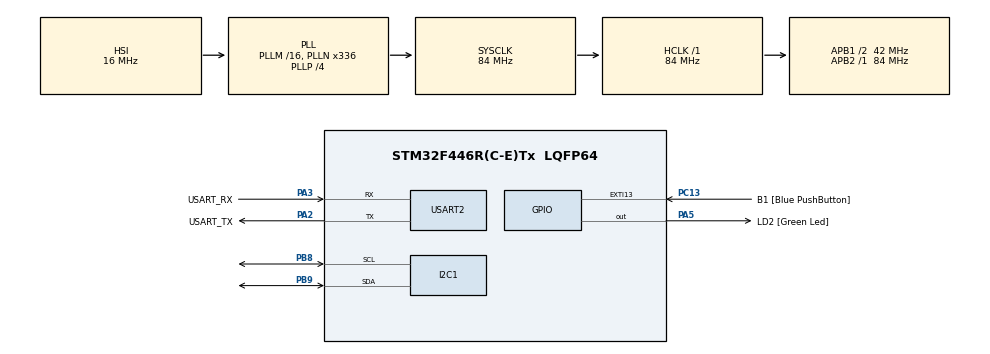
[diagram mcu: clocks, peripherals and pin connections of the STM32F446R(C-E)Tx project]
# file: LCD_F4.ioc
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Mcu.Family=STM32F4
Mcu.Name=STM32F446R(C-E)Tx
Mcu.Package=LQFP64
NVIC.PriorityGroup=NVIC_PRIORITYGROUP_0
PA13.GPIO_Label=TMS
PA13.Signal=SYS_JTMS-SWDIO
PA14.GPIO_Label=TCK
PA14.Signal=SYS_JTCK-SWCLK
PA2.GPIO_Label=USART_TX
PA2.Mode=Asynchronous
PA2.Signal=USART2_TX
PA3.GPIO_Label=USART_RX
PA3.Mode=Asynchronous
PA3.Signal=USART2_RX
PA5.GPIO_Label=LD2 [Green Led]
PA5.Signal=GPIO_Output
PB3.GPIO_Label=SWO
PB3.Signal=SYS_JTDO-SWO
PB8.Mode=I2C
PB8.Signal=I2C1_SCL
PB9.Mode=I2C
PB9.Signal=I2C1_SDA
PC13.GPIO_Label=B1 [Blue PushButton]
PC13.GPIO_ModeDefaultEXTI=GPIO_MODE_IT_FALLING
PC13.Signal=GPXTI13
PC14-OSC32_IN.Signal=RCC_OSC32_IN
PC15-OSC32_OUT.Signal=RCC_OSC32_OUT
PH0-OSC_IN.Signal=RCC_OSC_IN
PH1-OSC_OUT.Signal=RCC_OSC_OUT
ProjectManager.HeapSize=0x200
ProjectManager.StackSize=0x400
ProjectManager.TargetToolchain=STM32CubeIDE
RCC.AHBFreq_Value=84000000
RCC.APB1CLKDivider=RCC_HCLK_DIV2
RCC.APB1Freq_Value=42000000
RCC.APB1TimFreq_Value=84000000
RCC.APB2Freq_Value=84000000
RCC.APB2TimFreq_Value=84000000
RCC.CortexFreq_Value=84000000
RCC.FLatency-AdvancedSettings=FLASH_LATENCY_2
RCC.HCLKFreq_Value=84000000
RCC.HSE_VALUE=8000000
RCC.HSI_VALUE=16000000
RCC.LSE_VALUE=32768
RCC.PLLN=336
RCC.PLLP=RCC_PLLP_DIV4
RCC.SYSCLKFreq_VALUE=84000000
RCC.SYSCLKSource=RCC_SYSCLKSOURCE_PLLCLK
RCC.USBFreq_Value=168000000
RCC.VCOOutputFreq_Value=336000000
USART2.VirtualMode=VM_ASYNC
board=NUCLEO-F446RE

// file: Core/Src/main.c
/* USER CODE BEGIN Header */
/**
  ******************************************************************************
  * @file           : main.c
  * @brief          : Main program body
  ******************************************************************************
  * @attention
  *
  * Copyright (c) 2026 STMicroelectronics.
  * All rights reserved.
  *
  * This software is licensed under terms that can be found in the LICENSE file
  * in the root directory of this software component.
  * If no LICENSE file comes with this software, it is provided AS-IS.
  *
  ******************************************************************************
  */
/* USER CODE END Header */
#include "main.h"

/* USER CODE BEGIN Includes */
#include "liquidcrystal_i2c.h"
#include <stdio.h>
#include <string.h>
/* USER CODE END Includes */

I2C_HandleTypeDef hi2c1;

UART_HandleTypeDef huart2;

void SystemClock_Config(void);
static void MX_GPIO_Init(void);
static void MX_I2C1_Init(void);
static void MX_USART2_UART_Init(void);

/* USER CODE BEGIN 0 */

static void HIL_UartWrite(UART_HandleTypeDef *huart, const char *s)
{
  HAL_UART_Transmit(huart, (uint8_t*)s, (uint16_t)strlen(s), 200);
}

static void HIL_UartWriteLn(UART_HandleTypeDef *huart, const char *s)
{
  HIL_UartWrite(huart, s);
  HIL_UartWrite(huart, "\r\n");   // correct line ending
}

static void HIL_AnnounceWindow(UART_HandleTypeDef *huart, uint32_t window_ms)
{
  uint32_t t0 = HAL_GetTick();

  HIL_UartWriteLn(huart, "HIL:BOOT");

  while ((HAL_GetTick() - t0) < window_ms)
  {
    HIL_UartWriteLn(huart, "HIL:PASS");
    HAL_Delay(200);
  }
}

/* USER CODE END 0 */

int main(void)
{

  /* MCU Configuration--------------------------------------------------------*/

  /* Reset of all peripherals, Initializes the Flash interface and the Systick. */
  HAL_Init();

  /* Configure the system clock */
  SystemClock_Config();

  /* Initialize all configured peripherals */
  MX_GPIO_Init();
  MX_I2C1_Init();
  MX_USART2_UART_Init();
  /* USER CODE BEGIN 2 */
  // 1) UART HIL contract (must be after MX_USART2_UART_Init())
  HIL_AnnounceWindow(&huart2, 8000);   // repeat PASS for 8 seconds

  // 2) Minimal LCD demo
  HD44780_Init(2);
  HD44780_Clear();
  HD44780_SetCursor(0, 0);
  HD44780_PrintStr("Hello");
  HD44780_SetCursor(0, 1);
  HD44780_PrintStr("World2");

  // Optional: keep it stable for demo
  // (No delays needed for HIL; LCD stays showing text)

   /* USER CODE END 2 */

  /* Infinite loop */
  while (1)
  {

  }
}

void SystemClock_Config(void)
{
  RCC_OscInitTypeDef RCC_OscInitStruct = {0};
  RCC_ClkInitTypeDef RCC_ClkInitStruct = {0};

  /** Configure the main internal regulator output voltage
  */
  __HAL_RCC_PWR_CLK_ENABLE();
  __HAL_PWR_VOLTAGESCALING_CONFIG(PWR_REGULATOR_VOLTAGE_SCALE3);

  /** Initializes the RCC Oscillators according to the specified parameters
  * in the RCC_OscInitTypeDef structure.
  */
  RCC_OscInitStruct.OscillatorType = RCC_OSCILLATORTYPE_HSI;
  RCC_OscInitStruct.HSIState = RCC_HSI_ON;
  RCC_OscInitStruct.HSICalibrationValue = RCC_HSICALIBRATION_DEFAULT;
  RCC_OscInitStruct.PLL.PLLState = RCC_PLL_ON;
  RCC_OscInitStruct.PLL.PLLSource = RCC_PLLSOURCE_HSI;
  RCC_OscInitStruct.PLL.PLLM = 16;
  RCC_OscInitStruct.PLL.PLLN = 336;
  RCC_OscInitStruct.PLL.PLLP = RCC_PLLP_DIV4;
  RCC_OscInitStruct.PLL.PLLQ = 2;
  RCC_OscInitStruct.PLL.PLLR = 2;
  if (HAL_RCC_OscConfig(&RCC_OscInitStruct) != HAL_OK)
  {
    Error_Handler();
  }

  /** Initializes the CPU, AHB and APB buses clocks
  */
  RCC_ClkInitStruct.ClockType = RCC_CLOCKTYPE_HCLK|RCC_CLOCKTYPE_SYSCLK
                              |RCC_CLOCKTYPE_PCLK1|RCC_CLOCKTYPE_PCLK2;
  RCC_ClkInitStruct.SYSCLKSource = RCC_SYSCLKSOURCE_PLLCLK;
  RCC_ClkInitStruct.AHBCLKDivider = RCC_SYSCLK_DIV1;
  RCC_ClkInitStruct.APB1CLKDivider = RCC_HCLK_DIV2;
  RCC_ClkInitStruct.APB2CLKDivider = RCC_HCLK_DIV1;

  if (HAL_RCC_ClockConfig(&RCC_ClkInitStruct, FLASH_LATENCY_2) != HAL_OK)
  {
    Error_Handler();
  }
}

static void MX_I2C1_Init(void)
{

  hi2c1.Instance = I2C1;
  hi2c1.Init.ClockSpeed = 100000;
  hi2c1.Init.DutyCycle = I2C_DUTYCYCLE_2;
  hi2c1.Init.OwnAddress1 = 0;
  hi2c1.Init.AddressingMode = I2C_ADDRESSINGMODE_7BIT;
  hi2c1.Init.DualAddressMode = I2C_DUALADDRESS_DISABLE;
  hi2c1.Init.OwnAddress2 = 0;
  hi2c1.Init.GeneralCallMode = I2C_GENERALCALL_DISABLE;
  hi2c1.Init.NoStretchMode = I2C_NOSTRETCH_DISABLE;
  if (HAL_I2C_Init(&hi2c1) != HAL_OK)
  {
    Error_Handler();
  }

}

static void MX_USART2_UART_Init(void)
{

  huart2.Instance = USART2;
  huart2.Init.BaudRate = 115200;
  huart2.Init.WordLength = UART_WORDLENGTH_8B;
  huart2.Init.StopBits = UART_STOPBITS_1;
  huart2.Init.Parity = UART_PARITY_NONE;
  huart2.Init.Mode = UART_MODE_TX_RX;
  huart2.Init.HwFlowCtl = UART_HWCONTROL_NONE;
  huart2.Init.OverSampling = UART_OVERSAMPLING_16;
  if (HAL_UART_Init(&huart2) != HAL_OK)
  {
    Error_Handler();
  }

}

static void MX_GPIO_Init(void)
{
  GPIO_InitTypeDef GPIO_InitStruct = {0};

  /* GPIO Ports Clock Enable */
  __HAL_RCC_GPIOC_CLK_ENABLE();
  __HAL_RCC_GPIOH_CLK_ENABLE();
  __HAL_RCC_GPIOA_CLK_ENABLE();
  __HAL_RCC_GPIOB_CLK_ENABLE();

  /*Configure GPIO pin Output Level */
  HAL_GPIO_WritePin(LD2_GPIO_Port, LD2_Pin, GPIO_PIN_RESET);

  /*Configure GPIO pin : B1_Pin */
  GPIO_InitStruct.Pin = B1_Pin;
  GPIO_InitStruct.Mode = GPIO_MODE_IT_FALLING;
  GPIO_InitStruct.Pull = GPIO_NOPULL;
  HAL_GPIO_Init(B1_GPIO_Port, &GPIO_InitStruct);

  /*Configure GPIO pin : LD2_Pin */
  GPIO_InitStruct.Pin = LD2_Pin;
  GPIO_InitStruct.Mode = GPIO_MODE_OUTPUT_PP;
  GPIO_InitStruct.Pull = GPIO_NOPULL;
  GPIO_InitStruct.Speed = GPIO_SPEED_FREQ_LOW;
  HAL_GPIO_Init(LD2_GPIO_Port, &GPIO_InitStruct);

}

void Error_Handler(void)
{
  __disable_irq();
  while (1)
  {
  }
}
